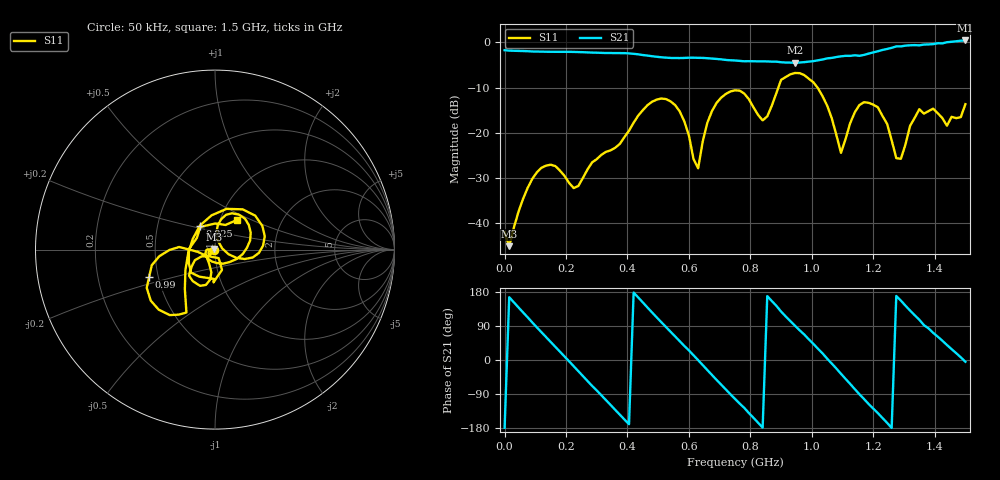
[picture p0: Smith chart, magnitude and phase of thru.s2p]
! Created with skrf 1.8.0 (http://scikit-rf.org).
# Hz S RI R 50.0
!freq ReS11 ImS11 ReS21 ImS21 ReS12 ImS12 ReS22 ImS22
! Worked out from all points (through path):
!   101 points, 50 kHz to 1.5 GHz, reference 50 ohm
!   highest |S21| = 0.42 dB at 1.5 GHz (marker M1); lowest = -4.5 dB at 945 MHz (marker M2)
!   lowest |S11| = -45.0 dB at 15.05 MHz (marker M3), VSWR 1.01, Z = 49.6 + j0.379 ohm
!   |S11| at or under -10 dB: start of sweep to 891.1 MHz; 1.019 GHz to end of sweep
!   S12 and S22 are empty: the file has one direction only
!   S11 on the Smith chart (normalised r, x): 50 kHz: 0.99, -0.01; 825 MHz: 0.82, +0.23; 990 MHz: 0.45, -0.16; 1.5 GHz: 1.20, +0.42
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50000  -0.00662 -0.00436  -0.8189 -0.0132  0 0  0 0
1.50495e7  -0.00411 0.00382  -0.7847 0.2007  0 0  0 0
1.20046e8  -0.0366 -0.019  0.2277 0.7564  0 0  0 0
1.950435e8  -0.023 -0.0244  0.7756 0.1271  0 0  0 0
2.550415e8  -0.0318 0.000873  0.5742 -0.5261  0 0  0 0
3.30039e8  -0.0497 -0.0367  -0.2084 -0.733  0 0  0 0
4.050365e8  0.0797 -0.0697  -0.7421 -0.1386  0 0  0 0
5.10033e8  0.1673 0.172  -0.1179 0.6744  0 0  0 0
6.30029e8  0.0402 0.00638  0.6746 -0.00526  0 0  0 0
6.750275e8  0.1659 -0.0524  0.5111 -0.4213  0 0  0 0
7.50025e8  0.2639 0.1317  -0.1371 -0.6159  0 0  0 0
8.250225e8  -0.0838 0.1342  -0.5969 -0.1551  0 0  0 0
9.450185e8  -0.3134 -0.3348  -0.00733 0.5967  0 0  0 0
9.90017e8  -0.367 -0.1514  0.3535 0.5  0 0  0 0
1.005016e9  -0.3521 -0.0868  0.4563 0.4205  0 0  0 0
1.095014e9  -0.0489 -0.0352  0.5641 -0.4158  0 0  0 0
1.140012e9  -0.0265 -0.1669  0.1628 -0.701  0 0  0 0
1.20001e9  -0.1441 -0.1459  -0.4792 -0.6093  0 0  0 0
1.260008e9  -0.0738 -0.0378  -0.8696 -0.0116  0 0  0 0
1.290007e9  0.0202 -0.0476  -0.8294 0.3559  0 0  0 0
1.380004e9  -0.087 -0.1509  0.1074 0.9427  0 0  0 0
1.5e9  0.1241 0.1665  1.046 -0.0861  0 0  0 0
